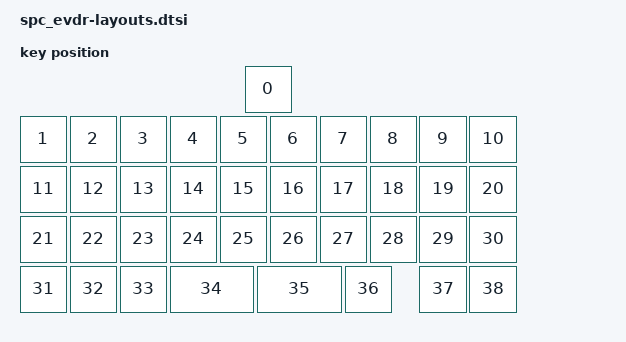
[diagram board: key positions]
/*
 * Copyright (c) 2022 @weteor
 *
 * SPDX-License-Identifier: MIT
 */

#include <physical_layouts.dtsi>

/ {
    default_layout: default_layout {
        compatible = "zmk,physical-layout";
        display-name = "Default Layout";
        transform = <&default_transform>;
        kscan = <&kscan0>;
        // Positions/widths measured from the PCB (rows 0-2 and the two outer
        // keys of row 3 sit on an exact 19.05mm/1u grid; the four center
        // bottom-row keys use the 1u/1.75u/1.75u/1u widths from
        // plate_1u_1.75u_1.75u_1u.stl). Purely cosmetic for ZMK Studio's
        // display - doesn't affect the actual key mapping.
        keys  //                       w    h    x     y   rot   rx   ry
            = <&key_physical_attrs 100 100  450 (-100)   0    0    0>  // encoder click (position 0)
            , <&key_physical_attrs 100 100    0    0     0    0    0>  // row0 col0
            , <&key_physical_attrs 100 100  100    0     0    0    0>  // row0 col1
            , <&key_physical_attrs 100 100  200    0     0    0    0>  // row0 col2
            , <&key_physical_attrs 100 100  300    0     0    0    0>  // row0 col3
            , <&key_physical_attrs 100 100  400    0     0    0    0>  // row0 col4
            , <&key_physical_attrs 100 100  500    0     0    0    0>  // row0 col5
            , <&key_physical_attrs 100 100  600    0     0    0    0>  // row0 col6
            , <&key_physical_attrs 100 100  700    0     0    0    0>  // row0 col7
            , <&key_physical_attrs 100 100  800    0     0    0    0>  // row0 col8
            , <&key_physical_attrs 100 100  900    0     0    0    0>  // row0 col9
            , <&key_physical_attrs 100 100    0  100     0    0    0>  // row1 col0
            , <&key_physical_attrs 100 100  100  100     0    0    0>  // row1 col1
            , <&key_physical_attrs 100 100  200  100     0    0    0>  // row1 col2
            , <&key_physical_attrs 100 100  300  100     0    0    0>  // row1 col3
            , <&key_physical_attrs 100 100  400  100     0    0    0>  // row1 col4
            , <&key_physical_attrs 100 100  500  100     0    0    0>  // row1 col5
            , <&key_physical_attrs 100 100  600  100     0    0    0>  // row1 col6
            , <&key_physical_attrs 100 100  700  100     0    0    0>  // row1 col7
            , <&key_physical_attrs 100 100  800  100     0    0    0>  // row1 col8
            , <&key_physical_attrs 100 100  900  100     0    0    0>  // row1 col9
            , <&key_physical_attrs 100 100    0  200     0    0    0>  // row2 col0
            , <&key_physical_attrs 100 100  100  200     0    0    0>  // row2 col1
            , <&key_physical_attrs 100 100  200  200     0    0    0>  // row2 col2
            , <&key_physical_attrs 100 100  300  200     0    0    0>  // row2 col3
            , <&key_physical_attrs 100 100  400  200     0    0    0>  // row2 col4
            , <&key_physical_attrs 100 100  500  200     0    0    0>  // row2 col5
            , <&key_physical_attrs 100 100  600  200     0    0    0>  // row2 col6
            , <&key_physical_attrs 100 100  700  200     0    0    0>  // row2 col7
            , <&key_physical_attrs 100 100  800  200     0    0    0>  // row2 col8
            , <&key_physical_attrs 100 100  900  200     0    0    0>  // row2 col9
            , <&key_physical_attrs 100 100    0  300     0    0    0>  // row3 col0
            , <&key_physical_attrs 100 100  100  300     0    0    0>  // row3 col1
            , <&key_physical_attrs 100 100  200  300     0    0    0>  // row3 col3
            , <&key_physical_attrs 175 100  300  300     0    0    0>  // row3 col4 (space)
            , <&key_physical_attrs 175 100  475  300     0    0    0>  // row3 col5 (enter)
            , <&key_physical_attrs 100 100  650  300     0    0    0>  // row3 col6
            , <&key_physical_attrs 100 100  800  300     0    0    0>  // row3 col8
            , <&key_physical_attrs 100 100  900  300     0    0    0>  // row3 col9
            ;
    };
};
